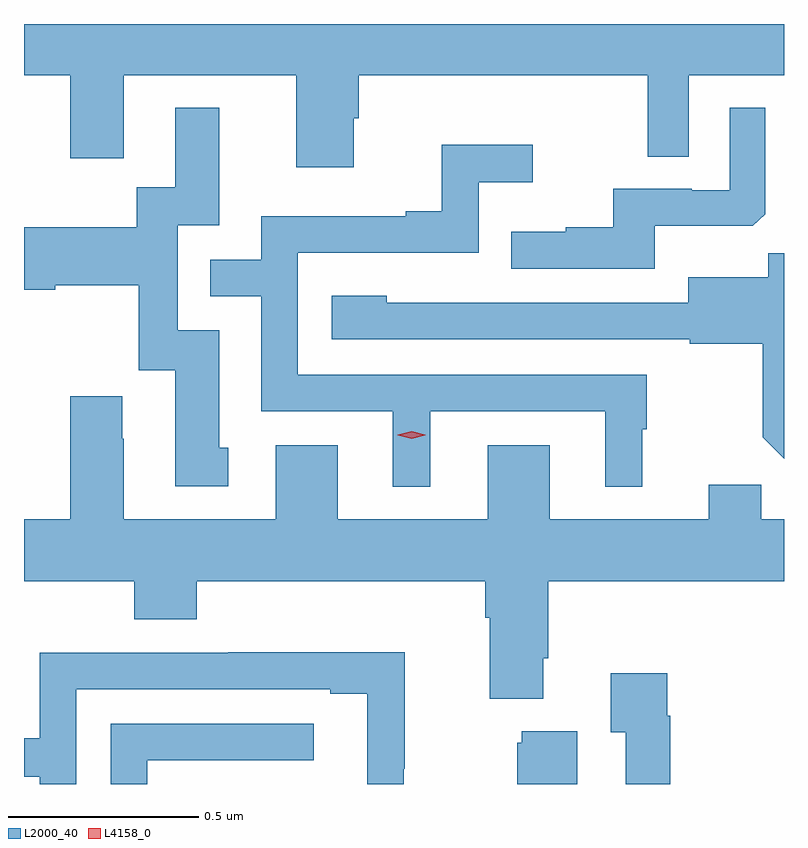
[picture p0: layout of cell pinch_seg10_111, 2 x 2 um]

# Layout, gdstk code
import gdstk
lib = gdstk.Library(unit=1e-6, precision=1e-09)
def P(c, l, *ps):  # polygons
    for p in ps: c.add(gdstk.Polygon(p, *l))
L2000_40 = (2000, 40)
L4158_0 = (4158, 0)

pinch_seg10_111 = lib.new_cell('pinch_seg10_111')
P(pinch_seg10_111, L2000_40, [(673.945,1293.543),(673.958,1293.543),(673.958,1293.656),(674.718,1293.656),(674.718,1293.442),(674.826,1293.442),(674.826,1293.656),(675.077,1293.656),(675.077,1293.791),(673.077,1293.791),(673.077,1293.656),(673.199,1293.656),(673.199,1293.438),(673.339,1293.438),(673.339,1293.656),(673.793,1293.656),(673.793,1293.414),(673.945,1293.414)],
  [(673.615,1292.676),(673.591,1292.676),(673.591,1292.985),(673.482,1292.985),(673.482,1293.261),(673.591,1293.261),(673.591,1293.571),(673.475,1293.571),(673.475,1293.362),(673.374,1293.362),(673.374,1293.256),(673.077,1293.256),(673.077,1293.092),(673.159,1293.092),(673.159,1293.104),(673.379,1293.104),(673.379,1292.88),(673.475,1292.88),(673.475,1292.574),(673.615,1292.574)],
  [(674.737,1293.26),(674.995,1293.26),(675.027,1293.291),(675.027,1293.571),(674.934,1293.571),(674.934,1293.354),(674.834,1293.354),(674.834,1293.357),(674.627,1293.357),(674.627,1293.256),(674.503,1293.256),(674.503,1293.244),(674.359,1293.244),(674.359,1293.147),(674.737,1293.147)],
  [(674.146,1292.772),(674.606,1292.772),(674.606,1292.573),(674.704,1292.573),(674.704,1292.724),(674.716,1292.724),(674.716,1292.868),(673.797,1292.868),(673.797,1293.189),(674.274,1293.189),(674.274,1293.374),(674.416,1293.374),(674.416,1293.473),(674.176,1293.473),(674.176,1293.298),(674.081,1293.298),(674.081,1293.285),(673.701,1293.285),(673.701,1293.171),(673.567,1293.171),(673.567,1293.075),(673.701,1293.075),(673.701,1292.772),(674.048,1292.772),(674.048,1292.573),(674.146,1292.573)],
  [(675.077,1293.188),(675.036,1293.188),(675.036,1293.124),(674.825,1293.124),(674.825,1293.057),(674.267,1293.057),(674.267,1293.058),(674.031,1293.058),(674.031,1293.076),(673.887,1293.076),(673.887,1292.961),(674.829,1292.961),(674.829,1292.949),(675.021,1292.949),(675.021,1292.703),(675.077,1292.647)],
  [(674.443,1292.122),(674.456,1292.122),(674.456,1292.324),(675.077,1292.324),(675.077,1292.488),(675.017,1292.488),(675.017,1292.579),(674.879,1292.579),(674.879,1292.488),(674.461,1292.488),(674.461,1292.683),(674.297,1292.683),(674.297,1292.488),(673.903,1292.488),(673.903,1292.683),(673.739,1292.683),(673.739,1292.488),(673.339,1292.488),(673.339,1292.699),(673.336,1292.699),(673.336,1292.812),(673.199,1292.812),(673.199,1292.488),(673.077,1292.488),(673.077,1292.324),(673.367,1292.324),(673.367,1292.225),(673.532,1292.225),(673.532,1292.324),(674.291,1292.324),(674.291,1292.228),(674.303,1292.228),(674.303,1292.015),(674.443,1292.015)],
  [(673.215,1292.04),(673.883,1292.04),(673.883,1292.028),(673.98,1292.028),(673.98,1291.791),(674.076,1291.791),(674.076,1291.831),(674.079,1291.831),(674.079,1292.138),(673.615,1292.138),(673.615,1292.136),(673.119,1292.136),(673.119,1291.911),(673.077,1291.911),(673.077,1291.81),(673.119,1291.81),(673.119,1291.791),(673.215,1291.791)],
  [(674.777,1291.97),(674.77,1291.97),(674.77,1292.083),(674.621,1292.083),(674.621,1291.927),(674.661,1291.927),(674.661,1291.791),(674.777,1291.791)],
  [(673.401,1291.854),(673.84,1291.854),(673.84,1291.95),(673.305,1291.95),(673.305,1291.791),(673.401,1291.791)],
  [(674.533,1291.93),(674.387,1291.93),(674.387,1291.899),(674.375,1291.899),(674.375,1291.791),(674.533,1291.791)])
P(pinch_seg10_111, L4158_0, [(674.097,1292.699),(674.061,1292.709),(674.061,1292.709),(674.061,1292.71),(674.097,1292.719),(674.133,1292.71),(674.133,1292.709),(674.133,1292.709)])

lib.write_gds('pinch_seg10_111.gds')
